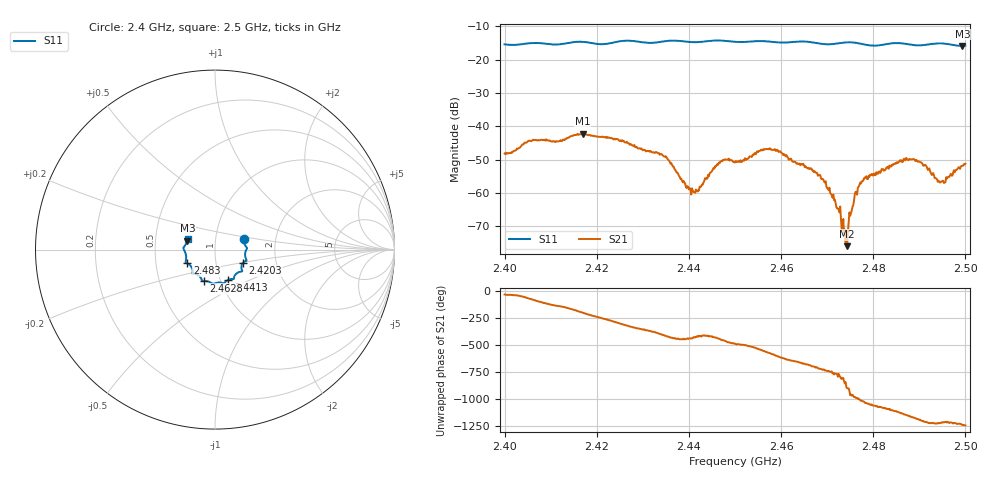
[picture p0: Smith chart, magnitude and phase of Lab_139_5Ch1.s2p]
# Hz S RI R 50
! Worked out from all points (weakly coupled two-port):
!   601 points, 2.4 GHz to 2.5 GHz, reference 50 ohm
!   highest |S21| = -42.23 dB at 2.417 GHz (marker M1); lowest = -76.0 dB at 2.4743 GHz (marker M2)
!   lowest |S11| = -15.8 dB at 2.4993 GHz (marker M3), VSWR 1.39, Z = 36.5 + j3.71 ohm
!   |S11| at or under -10 dB: start of sweep to end of sweep
!   S12 and S22 are empty: the file has one direction only
!   S11 on the Smith chart (normalised r, x): 2.4 GHz: 1.37, +0.16; 2.4203 GHz: 1.35, -0.20; 2.4413 GHz: 1.09, -0.38; 2.4628 GHz: 0.83, -0.30; 2.483 GHz: 0.72, -0.11; 2.5 GHz: 0.73, +0.09
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2.4e9  0.1607 0.0571  0.00325 -0.00214  0 0  0 0
2.416667e9  0.176 -0.0612  -0.00729 0.00229  0 0  0 0
2.417e9  0.1753 -0.0618  -0.00717 0.00289  0 0  0 0
2.420333e9  0.1555 -0.0737  -0.0031 0.0062  0 0  0 0
2.433333e9  0.1081 -0.1485  0.00331 -0.00214  0 0  0 0
2.441333e9  0.0744 -0.1682  0.000325 -0.000949  0 0  0 0
2.447e9  0.0469 -0.1886  -0.000141 -0.00299  0 0  0 0
2.45e9  0.0294 -0.1837  -0.00184 -0.0022  0 0  0 0
2.457167e9  -0.0176 -0.1877  -0.00393 0.00233  0 0  0 0
2.462833e9  -0.0629 -0.1749  0.00102 0.00279  0 0  0 0
2.466667e9  -0.0743 -0.1675  0.0021 0.000855  0 0  0 0
2.47e9  -0.0925 -0.1436  0.00111 -0.00039  0 0  0 0
2.472333e9  -0.1136 -0.1349  0.000158 -0.000559  0 0  0 0
2.473833e9  -0.1223 -0.1345  -0.0002 -0.000198  0 0  0 0
2.474333e9  -0.1239 -0.1341  -0.000158 2.19e-06  0 0  0 0
2.477167e9  -0.1243 -0.1234  0.000459 0.00136  0 0  0 0
2.483e9  -0.1548 -0.0767  0.00236 -0.000563  0 0  0 0
2.483333e9  -0.157 -0.0757  0.00225 -0.000489  0 0  0 0
2.489e9  -0.1604 -0.0411  -0.000301 -0.00312  0 0  0 0
2.495e9  -0.1755 0.0108  -0.00106 -0.00108  0 0  0 0
2.499333e9  -0.1542 0.0495  -0.00239 -0.000849  0 0  0 0
2.5e9  -0.1525 0.0586  -0.00264 -0.000723  0 0  0 0
